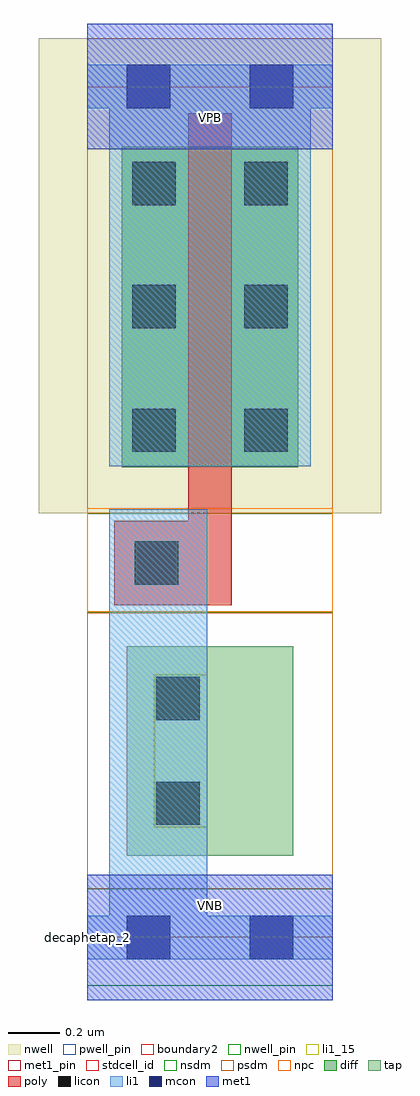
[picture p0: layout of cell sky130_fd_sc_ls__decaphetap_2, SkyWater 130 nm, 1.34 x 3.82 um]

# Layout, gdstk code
import gdstk
lib = gdstk.Library(unit=1e-6, precision=1e-09)
def R(c, l, rs):  # rectangles x0, y0, x1, y1
    for r in rs: c.add(gdstk.rectangle(r[:2], r[2:], *l))
def P(c, l, *ps):  # polygons
    for p in ps: c.add(gdstk.Polygon(p, *l))
nwell_pin = (64, 16)
nwell = (64, 20)
diff = (65, 20)
tap = (65, 44)
poly = (66, 20)
licon = (66, 44)
li1_15 = (67, 15)
li1 = (67, 20)
mcon = (67, 44)
met1_pin = (68, 16)
met1 = (68, 20)
stdcell_id = (81, 4)
nsdm = (93, 44)
psdm = (94, 20)
npc = (95, 20)
pwell_pin = (122, 16)
boundary2 = (236, 0)

sky130_fd_sc_ls__decaphe = lib.new_cell('sky130_fd_sc_ls__decaphetap_2')
R(sky130_fd_sc_ls__decaphe, nwell_pin, [(0,3.085,0.96,3.33)])
R(sky130_fd_sc_ls__decaphe, nwell, [(-0.19,1.66,1.15,3.52)])
R(sky130_fd_sc_ls__decaphe, diff, [(0.135,1.84,0.825,3.095)])
R(sky130_fd_sc_ls__decaphe, tap, [(0.155,0.32,0.805,1.14)])
P(sky130_fd_sc_ls__decaphe, poly, [(0.565,3.225),(0.395,3.225),(0.395,1.63),(0.105,1.63),(0.105,1.3),(0.565,1.3)])
R(sky130_fd_sc_ls__decaphe, licon, [(0.27,0.44,0.44,0.61), (0.27,0.85,0.44,1.02), (0.185,1.38,0.355,1.55), (0.175,1.9,0.345,2.07), (0.615,1.9,0.785,2.07), (0.175,2.385,0.345,2.555), (0.615,2.385,0.785,2.555), (0.175,2.865,0.345,3.035), (0.615,2.865,0.785,3.035)])
P(sky130_fd_sc_ls__decaphe, li1_15, [(0.47,0.435),(0.265,0.435),(0.265,1.025),(0.47,1.025),(0.47,1.03),(0.26,1.03),(0.26,0.43),(0.47,0.43)])
P(sky130_fd_sc_ls__decaphe, li1, [(0.96,0.085),(0.47,0.085),(0.47,1.675),(0.085,1.675),(0.085,0.085),(0,0.085),(0,-0.085),(0.96,-0.085)],
  [(0.96,3.415),(0,3.415),(0,3.245),(0.085,3.245),(0.085,1.845),(0.875,1.845),(0.875,3.245),(0.96,3.245)])
R(sky130_fd_sc_ls__decaphe, mcon, [(0.155,-0.085,0.325,0.085), (0.635,-0.085,0.805,0.085), (0.155,3.245,0.325,3.415), (0.635,3.245,0.805,3.415)])
R(sky130_fd_sc_ls__decaphe, met1_pin, [(0,0,0.96,0.245), (0,3.085,0.96,3.33)])
R(sky130_fd_sc_ls__decaphe, met1, [(0,-0.245,0.96,0.245), (0,3.085,0.96,3.575)])
R(sky130_fd_sc_ls__decaphe, stdcell_id, [(0,0,0.96,3.33)])
R(sky130_fd_sc_ls__decaphe, nsdm, [(0,-0.19,0.96,0.19), (0,1.27,0.96,1.66)])
R(sky130_fd_sc_ls__decaphe, psdm, [(0,0.19,0.96,1.27), (0,1.66,0.96,3.52)])
R(sky130_fd_sc_ls__decaphe, npc, [(0,1.275,0.96,1.68)])
R(sky130_fd_sc_ls__decaphe, pwell_pin, [(0,0,0.96,0.245)])
R(sky130_fd_sc_ls__decaphe, boundary2, [(0,0,0.96,3.33)])
sky130_fd_sc_ls__decaphe.add(gdstk.Label('VNB', (0.48,0.123), layer=64, texttype=59))
sky130_fd_sc_ls__decaphe.add(gdstk.Label('VPB', (0.48,3.208), layer=64, texttype=5))
sky130_fd_sc_ls__decaphe.add(gdstk.Label('decaphetap_2', (0,0), layer=83, texttype=44))
sky130_fd_sc_ls__decaphe.add(gdstk.Label('VGND', (0.48,0.123), layer=68, texttype=5))
sky130_fd_sc_ls__decaphe.add(gdstk.Label('VPWR', (0.48,3.208), layer=68, texttype=5))

lib.write_gds('sky130_fd_sc_ls__decaphetap_2.gds')
